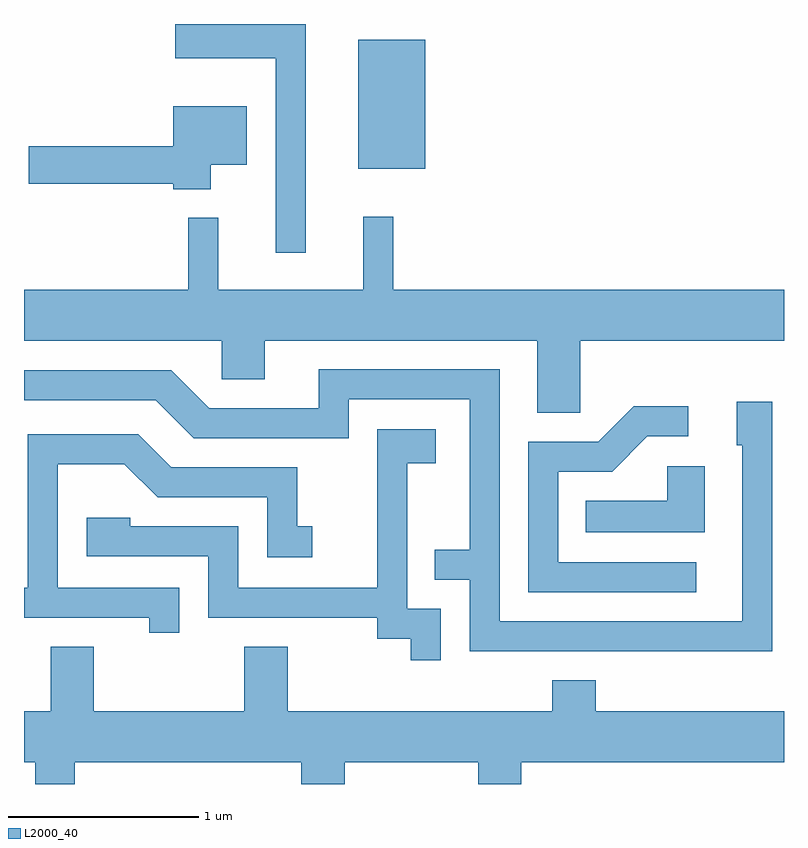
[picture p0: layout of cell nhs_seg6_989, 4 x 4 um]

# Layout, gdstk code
import gdstk
lib = gdstk.Library(unit=1e-6, precision=1e-09)
def R(c, l, rs):  # rectangles x0, y0, x1, y1
    for r in rs: c.add(gdstk.rectangle(r[:2], r[2:], *l))
def P(c, l, *ps):  # polygons
    for p in ps: c.add(gdstk.Polygon(p, *l))
L2000_40 = (2000, 40)

nhs_seg6_989 = lib.new_cell('nhs_seg6_989')
R(nhs_seg6_989, L2000_40, [(217.371,1535.401,217.724,1536.079)])
P(nhs_seg6_989, L2000_40, [(217.094,1536.162),(216.406,1536.162),(216.406,1535.981),(216.936,1535.981),(216.936,1534.958),(217.094,1534.958)],
  [(216.594,1535.421),(216.784,1535.421),(216.784,1535.729),(216.396,1535.729),(216.396,1535.519),(215.636,1535.519),(215.636,1535.321),(216.396,1535.321),(216.396,1535.291),(216.594,1535.291)],
  [(218.539,1534.496),(219.611,1534.496),(219.611,1534.764),(217.554,1534.764),(217.554,1535.148),(217.396,1535.148),(217.396,1534.764),(216.634,1534.764),(216.634,1535.143),(216.476,1535.143),(216.476,1534.764),(215.611,1534.764),(215.611,1534.496),(216.651,1534.496),(216.651,1534.291),(216.879,1534.291),(216.879,1534.496),(218.311,1534.496),(218.311,1534.116),(218.539,1534.116)],
  [(219.549,1534.174),(219.361,1534.174),(219.361,1533.946),(219.391,1533.946),(219.391,1533.019),(218.114,1533.019),(218.114,1534.344),(217.161,1534.344),(217.161,1534.139),(216.587,1534.139),(216.387,1534.339),(215.611,1534.339),(215.611,1534.181),(216.304,1534.181),(216.504,1533.981),(217.319,1533.981),(217.319,1534.186),(217.956,1534.186),(217.956,1533.394),(217.773,1533.394),(217.773,1533.236),(217.956,1533.236),(217.956,1532.861),(219.549,1532.861)],
  [(219.148,1533.329),(218.424,1533.329),(218.424,1533.806),(218.707,1533.806),(218.892,1533.991),(219.108,1533.991),(219.108,1534.149),(218.819,1534.149),(218.634,1533.964),(218.266,1533.964),(218.266,1533.171),(219.148,1533.171)],
  [(217.804,1533.084),(217.629,1533.084),(217.629,1533.851),(217.779,1533.851),(217.779,1534.029),(217.471,1534.029),(217.471,1533.194),(216.739,1533.194),(216.739,1533.519),(216.169,1533.519),(216.169,1533.564),(215.941,1533.564),(215.941,1533.361),(216.581,1533.361),(216.581,1533.036),(217.471,1533.036),(217.471,1532.926),(217.646,1532.926),(217.646,1532.813),(217.804,1532.813)],
  [(216.429,1533.194),(215.789,1533.194),(215.789,1533.846),(216.139,1533.846),(216.314,1533.671),(216.891,1533.671),(216.891,1533.356),(217.128,1533.356),(217.128,1533.519),(217.049,1533.519),(217.049,1533.829),(216.387,1533.829),(216.212,1534.004),(215.631,1534.004),(215.631,1533.194),(215.611,1533.194),(215.611,1533.036),(216.271,1533.036),(216.271,1532.958),(216.429,1532.958)],
  [(219.194,1533.834),(218.996,1533.834),(218.996,1533.654),(218.568,1533.654),(218.568,1533.486),(219.194,1533.486)],
  [(215.879,1532.276),(217.071,1532.276),(217.071,1532.162),(217.299,1532.162),(217.299,1532.276),(218.001,1532.276),(218.001,1532.162),(218.229,1532.162),(218.229,1532.276),(219.611,1532.276),(219.611,1532.544),(218.619,1532.544),(218.619,1532.709),(218.391,1532.709),(218.391,1532.544),(216.999,1532.544),(216.999,1532.884),(216.771,1532.884),(216.771,1532.544),(215.979,1532.544),(215.979,1532.884),(215.751,1532.884),(215.751,1532.544),(215.611,1532.544),(215.611,1532.276),(215.671,1532.276),(215.671,1532.162),(215.879,1532.162)])

lib.write_gds('nhs_seg6_989.gds')
